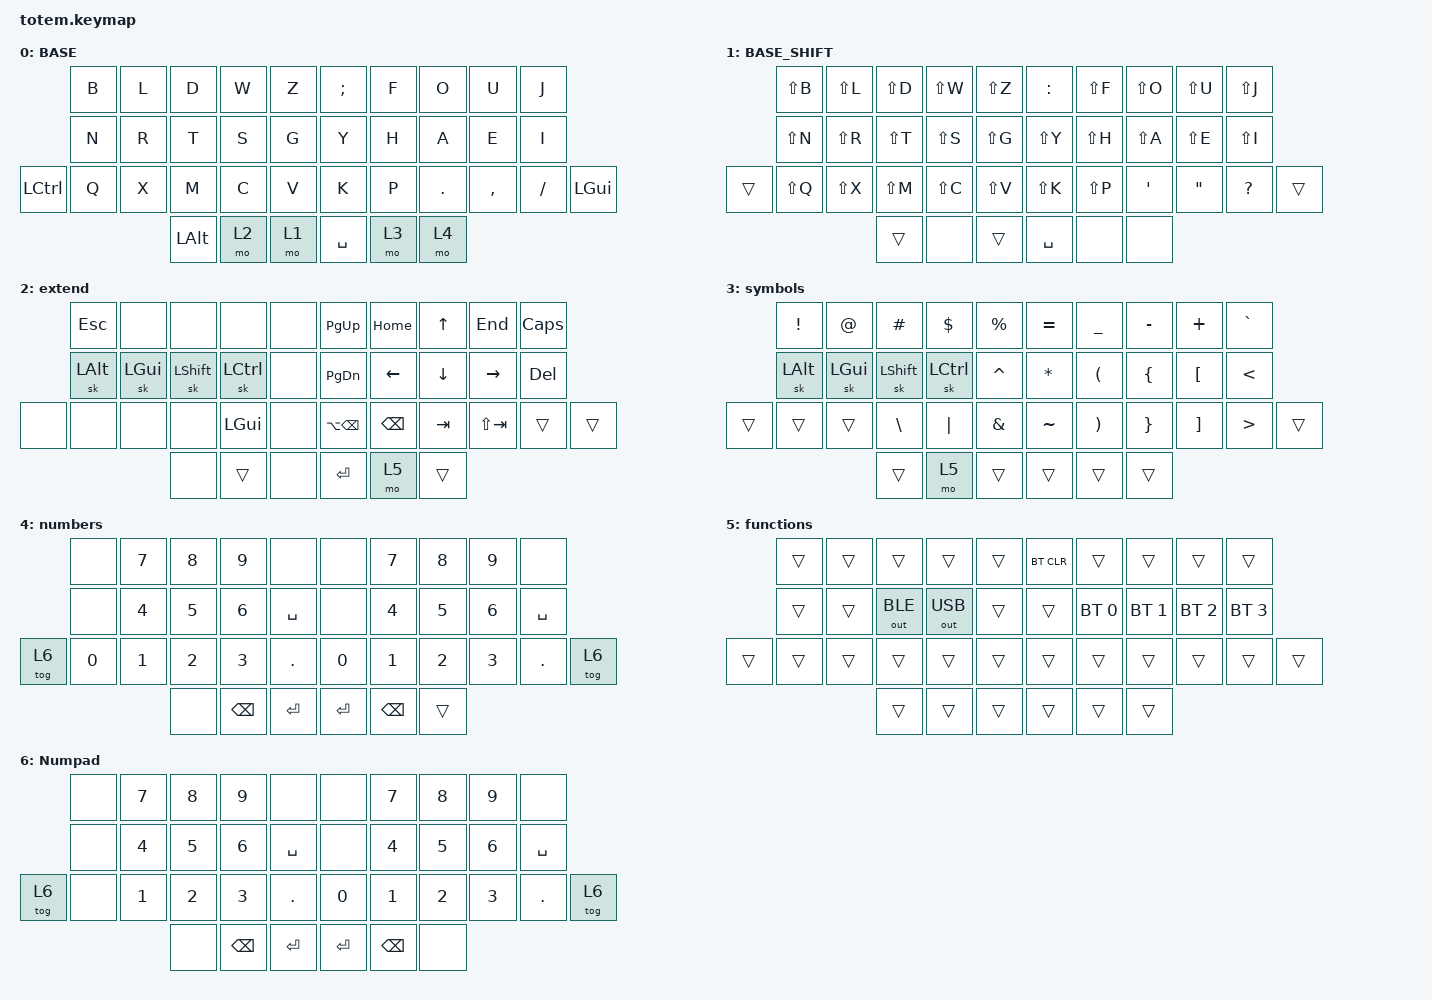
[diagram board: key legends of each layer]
//
//                                                        ▀▀▀▀▀     ▀▀▀▀▀          ▀▀█▀▀
//                                                        ▄▀▀▀▄  ▄  ▄▀▀▀▄  ▄  ▄▀▀▀▄  █  ▄▀▀▀▄
//                                                        █   █  █  █   █  █  █   █  █  █   █
//                                                         ▀▀▀   █   ▀▀▀   █   ▀▀▀   ▀   ▀▀▀
//                                                               █      ▄▄▄█▄▄▄    █   █  
//                                                               ▀      █  █  █     █▄█
//                                                             ▀▀▀▀▀    █  █  █      ▀
//                                                                      ▀  ▀  ▀
//
// ▄▄▄▄▄▄▄▄▄▄▄▄▄▄▄▄▄▄▄▄▄▄▄▄▄▄▄▄▄▄▄▄▄▄▄▄▄▄▄▄▄▄▄▄▄▄▄▄▄▄▄▄▄▄▄▄▄▄▄▄▄▄▄▄▄▄▄▄▄▄▄▄▄▄▄▄▄▄▄▄▄▄▄▄▄▄▄▄▄▄▄▄▄▄▄▄▄▄▄▄▄▄▄▄▄▄▄▄▄▄▄▄▄▄▄▄▄▄▄▄▄▄▄▄▄▄▄▄▄▄▄▄▄▄▄▄▄▄▄▄▄▄▄▄▄▄▄▄▄

#include <behaviors.dtsi>
#include <dt-bindings/zmk/bt.h>
#include <dt-bindings/zmk/keys.h>
#include <dt-bindings/zmk/outputs.h>

#define BASE 0
#define NAV  1
#define SYM  2
#define ADJ  3

&mt {
    quick-tap-ms = <100>;
    global-quick-tap;
    flavor = "tap-preferred";
    tapping-term-ms = <170>;
};

/ {
    combos {
        compatible = "zmk,combos";

        combo_esc {
            timeout-ms = <50>;
            key-positions = <0 1>;
            bindings = <&kp ESC>;
        };
    };

    keymap {
        compatible = "zmk,keymap";

        // ▄▄▄▄▄▄▄▄▄▄▄▄▄▄▄▄▄▄▄▄▄▄▄▄▄▄▄▄▄▄▄▄▄▄▄▄▄▄▄▄▄▄▄▄▄▄▄▄▄▄▄▄▄▄▄▄▄▄▄▄▄▄▄▄▄▄▄▄▄▄▄▄▄▄▄▄▄▄▄▄▄▄▄▄▄▄▄▄▄▄▄▄▄▄▄▄▄▄▄▄▄▄▄▄▄▄▄▄▄▄▄▄▄▄▄▄▄▄▄▄▄▄▄▄▄▄▄▄▄▄▄▄▄▄▄▄▄▄▄▄▄▄▄▄▄▄▄▄▄

        base_layer {
            // ┏━━━━━━━━━━━━━━━━━━━━━━━━━━━━━━━━━━━━━━━┓

            label = "BASE";

            // ┗━━━━━━━━━━━━━━━━━━━━━━━━━━━━━━━━━━━━━━━┛
            //             ┏━━━━━━━━━━━┳━━━━━━━━━━━┳━━━━━━━━━━━┳━━━━━━━━━━━┳━━━━━━━━━━━┓   ┏━━━━━━━━━━━┳━━━━━━━━━━━┳━━━━━━━━━━━┳━━━━━━━━━━━┳━━━━━━━━━━━┓
            //             ┃     Q     ┃     W     ┃     E     ┃     R     ┃     T     ┃   ┃     Y     ┃     U     ┃     I     ┃     O     ┃     P     ┃
            //             ┣━━━━━━━━━━━╋━━━━━━━━━━━╋━━━━━━━━━━━╋━━━━━━━━━━━╋━━━━━━━━━━━┫   ┣━━━━━━━━━━━╋━━━━━━━━━━━╋━━━━━━━━━━━╋━━━━━━━━━━━╋━━━━━━━━━━━┫
            //             ┃     A     ┃     S     ┃     D     ┃     F     ┃     G     ┃   ┃     H     ┃     J     ┃     K     ┃     L     ┃     ;     ┃
            // ┏━━━━━━━━━━━╋━━━━━━━━━━━╋━━━━━━━━━━━╋━━━━━━━━━━━╋━━━━━━━━━━━╋━━━━━━━━━━━┫   ┣━━━━━━━━━━━╋━━━━━━━━━━━╋━━━━━━━━━━━╋━━━━━━━━━━━╋━━━━━━━━━━━╋━━━━━━━━━━━┓
            // ┃     Q     ┃     Z     ┃     X     ┃     C     ┃     V     ┃     B     ┃   ┃     N     ┃     M     ┃     ,     ┃     .     ┃     /     ┃     \     ┃
            // ┗━━━━━━━━━━━┻━━━━━━━━━━━┻━━━━━━━━━━━╋━━━━━━━━━━━╋━━━━━━━━━━━╋━━━━━━━━━━━┫   ┣━━━━━━━━━━━╋━━━━━━━━━━━╋━━━━━━━━━━━╋━━━━━━━━━━━┻━━━━━━━━━━━┻━━━━━━━━━━━┛
            //                                     ┃    DEL    ┃    TAB    ┃    SPC    ┃   ┃   ENTER   ┃           ┃   BSPC    ┃
            //                                     ┗━━━━━━━━━━━┻━━━━━━━━━━━┻━━━━━━━━━━━┛   ┗━━━━━━━━━━━┻━━━━━━━━━━━┻━━━━━━━━━━━┛

            bindings = <
                  &kp B  &kp L  &kp D         &kp W  &kp Z    &kp SEMI   &kp F  &kp O       &kp U      &kp J
                  &kp N  &kp R  &kp T         &kp S  &kp G    &kp Y      &kp H  &kp A       &kp E      &kp I
&kp LEFT_CONTROL  &kp Q  &kp X  &kp M         &kp C  &kp V    &kp K      &kp P  &kp PERIOD  &kp COMMA  &kp SLASH  &kp LEFT_GUI
                                &kp LEFT_ALT  &mo 2  &mo 1    &kp SPACE  &mo 3  &mo 4
            >;
        };

        // ▄▄▄▄▄▄▄▄▄▄▄▄▄▄▄▄▄▄▄▄▄▄▄▄▄▄▄▄▄▄▄▄▄▄▄▄▄▄▄▄▄▄▄▄▄▄▄▄▄▄▄▄▄▄▄▄▄▄▄▄▄▄▄▄▄▄▄▄▄▄▄▄▄▄▄▄▄▄▄▄▄▄▄▄▄▄▄▄▄▄▄▄▄▄▄▄▄▄▄▄▄▄▄▄▄▄▄▄▄▄▄▄▄▄▄▄▄▄▄▄▄▄▄▄▄▄▄▄▄▄▄▄▄▄▄▄▄▄▄▄▄▄▄▄▄▄▄▄▄
        // ▄▄▄▄▄▄▄▄▄▄▄▄▄▄▄▄▄▄▄▄▄▄▄▄▄▄▄▄▄▄▄▄▄▄▄▄▄▄▄▄▄▄▄▄▄▄▄▄▄▄▄▄▄▄▄▄▄▄▄▄▄▄▄▄▄▄▄▄▄▄▄▄▄▄▄▄▄▄▄▄▄▄▄▄▄▄▄▄▄▄▄▄▄▄▄▄▄▄▄▄▄▄▄▄▄▄▄▄▄▄▄▄▄▄▄▄▄▄▄▄▄▄▄▄▄▄▄▄▄▄▄▄▄▄▄▄▄▄▄▄▄▄▄▄▄▄▄▄▄
        // ▄▄▄▄▄▄▄▄▄▄▄▄▄▄▄▄▄▄▄▄▄▄▄▄▄▄▄▄▄▄▄▄▄▄▄▄▄▄▄▄▄▄▄▄▄▄▄▄▄▄▄▄▄▄▄▄▄▄▄▄▄▄▄▄▄▄▄▄▄▄▄▄▄▄▄▄▄▄▄▄▄▄▄▄▄▄▄▄▄▄▄▄▄▄▄▄▄▄▄▄▄▄▄▄▄▄▄▄▄▄▄▄▄▄▄▄▄▄▄▄▄▄▄▄▄▄▄▄▄▄▄▄▄▄▄▄▄▄▄▄▄▄▄▄▄▄▄▄▄

        base_shift {
            label = "BASE_SHIFT";
            bindings = <
        &kp LS(B)  &kp LS(L)  &kp LS(D)  &kp LS(W)  &kp LS(Z)    &kp COLON  &kp LS(F)  &kp LS(O)       &kp LS(U)          &kp LS(J)
        &kp LS(N)  &kp LS(R)  &kp LS(T)  &kp LS(S)  &kp LS(G)    &kp LS(Y)  &kp LS(H)  &kp LS(A)       &kp LS(E)          &kp LS(I)
&trans  &kp LS(Q)  &kp LS(X)  &kp LS(M)  &kp LS(C)  &kp LS(V)    &kp LS(K)  &kp LS(P)  &kp APOSTROPHE  &kp DOUBLE_QUOTES  &kp QUESTION  &trans
                              &trans     &none      &trans       &kp SPACE  &none      &none
            >;
        };

        extend {
            bindings = <
       &kp ESCAPE    &none         &none           &none             &none    &kp PAGE_UP        &kp HOME       &kp UP_ARROW  &kp END      &kp CAPSLOCK
       &sk LEFT_ALT  &sk LEFT_GUI  &sk LEFT_SHIFT  &sk LEFT_CONTROL  &none    &kp PAGE_DOWN      &kp LEFT       &kp DOWN      &kp RIGHT    &kp DELETE
&none  &none         &none         &none           &kp LEFT_GUI      &none    &kp LA(BACKSPACE)  &kp BACKSPACE  &kp TAB       &kp LS(TAB)  &trans        &trans
                                   &none           &trans            &none    &kp ENTER          &mo 5          &trans
            >;
        };

        symbols {
            bindings = <
        &kp EXCL      &kp AT        &kp POUND       &kp DOLLAR        &kp PERCENT      &kp EQUAL     &kp UNDER              &kp MINUS        &kp PLUS           &kp GRAVE
        &sk LEFT_ALT  &sk LEFT_GUI  &sk LEFT_SHIFT  &sk LEFT_CONTROL  &kp CARET        &kp ASTERISK  &kp LEFT_PARENTHESIS   &kp LEFT_BRACE   &kp LEFT_BRACKET   &kp LESS_THAN
&trans  &trans        &trans        &kp BACKSLASH   &kp PIPE          &kp AMPERSAND    &kp TILDE     &kp RIGHT_PARENTHESIS  &kp RIGHT_BRACE  &kp RIGHT_BRACKET  &kp GREATER_THAN  &trans
                                    &trans          &mo 5             &trans           &trans        &trans                 &trans
            >;
        };

        numbers {
            bindings = <
        &none   &kp N7  &kp N8  &kp N9         &none         &none      &kp N7         &kp N8  &kp N9  &none
        &none   &kp N4  &kp N5  &kp N6         &kp SPACE     &none      &kp N4         &kp N5  &kp N6  &kp SPACE
&tog 6  &kp N0  &kp N1  &kp N2  &kp N3         &kp PERIOD    &kp N0     &kp N1         &kp N2  &kp N3  &kp PERIOD  &tog 6
                        &none   &kp BACKSPACE  &kp ENTER     &kp ENTER  &kp BACKSPACE  &trans
            >;
        };

        functions {
            bindings = <
        &trans  &trans  &trans        &trans        &trans    &bt BT_CLR  &trans        &trans        &trans        &trans
        &trans  &trans  &out OUT_BLE  &out OUT_USB  &trans    &trans      &bt BT_SEL 0  &bt BT_SEL 1  &bt BT_SEL 2  &bt BT_SEL 3
&trans  &trans  &trans  &trans        &trans        &trans    &trans      &trans        &trans        &trans        &trans        &trans
                        &trans        &trans        &trans    &trans      &trans        &trans
            >;
        };

        Numpad {
            bindings = <
        &none  &kp N7  &kp N8  &kp N9         &none        &none      &kp N7         &kp N8        &kp N9        &none
        &none  &kp N4  &kp N5  &kp N6         &kp SPACE    &none      &kp NUMBER_4   &kp N5        &kp NUMBER_6  &kp SPACE
&tog 6  &none  &kp N1  &kp N2  &kp N3         &kp DOT      &kp N0     &kp NUMBER_1   &kp NUMBER_2  &kp NUMBER_3  &kp PERIOD  &tog 6
                       &none   &kp BACKSPACE  &kp ENTER    &kp ENTER  &kp BACKSPACE  &none
            >;
        };
    };
};
